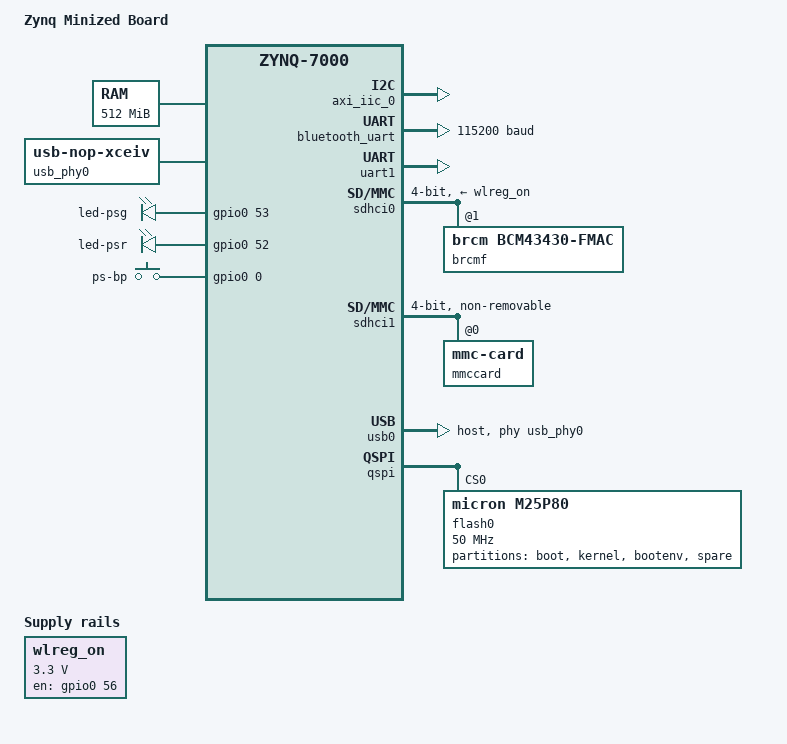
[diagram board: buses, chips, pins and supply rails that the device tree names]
/*
* dts file for MiniZed
*
* Copyright (C) 2018 Clément Laigle <clement.laigle8@gmail.com>
*/

/dts-v1/;
/include/ "zynq-7000.dtsi"


/ {
	model = "Zynq Minized Board";
	compatible = "xlnx,zynq-Minized", "xlnx,zynq-7000";

	chosen {
		stdout-path = "serial0:115200n8";
	};

	cpus {
		cpu@0 {
			operating-points = <666666 1000000 333333 1000000>;
		};
	};

	aliases {
		serial0 = &uart1;
                serial1 = &bluetooth_uart;
		spi0 = &qspi;
		mmc0 = &sdhci1;
	};

	memory {
		device_type = "memory";
		reg = <0 0x20000000>;
	};

	usb_phy0: phy0 {
		compatible = "usb-nop-xceiv";
		#phy-cells = <0x0>;
	};

	leds {
		compatible = "gpio-leds";
		led-psg {
			label = "led-psg";
			gpios = <&gpio0 53 0>;
			default-state = "on";
			linux,default-trigger = "heartbeat";
		};
		led-psr {
			label = "led-psr";
			gpios = <&gpio0 52 0>;
			default-state = "on";
			linux,default-trigger = "heartbeat";
		};
	};

	gpio-keys {
		compatible = "gpio-keys";
		#address-cells = <1>;
		#size-cells = <0>;
		autorepeat;
		sw3 {
			label = "ps-bp";
			gpios = <&gpio0 0 0>;
			linux,code = <108>; /* down */
			gpio-key,wakeup;
			autorepeat;
		};
	};

	amba_pl: amba_pl {
		#address-cells = <1>;
		#size-cells = <1>;
		compatible = "simple-bus";
		ranges ;

		axi_gpio_0: gpio@41200000 {
			#gpio-cells = <2>;
			compatible = "xlnx,xps-gpio-1.00.a";
			gpio-controller ;
			reg = <0x41200000 0x10000>;
			xlnx,all-inputs = <0x0>;
			xlnx,all-inputs-2 = <0x0>;
			xlnx,all-outputs = <0x1>;
			xlnx,all-outputs-2 = <0x1>;
			xlnx,dout-default = <0x00000000>;
			xlnx,dout-default-2 = <0x00000000>;
			xlnx,gpio-width = <0x1>;
			xlnx,gpio2-width = <0x1>;
			xlnx,interrupt-present = <0x0>;
			xlnx,is-dual = <0x1>;
			xlnx,tri-default = <0xFFFFFFFF>;
			xlnx,tri-default-2 = <0xFFFFFFFF>;
		};
		axi_gpio_1: gpio@41210000 {
			#gpio-cells = <2>;
			compatible = "xlnx,xps-gpio-1.00.a";
			gpio-controller ;
			reg = <0x41210000 0x10000>;
			xlnx,all-inputs = <0x1>;
			xlnx,all-inputs-2 = <0x0>;
			xlnx,all-outputs = <0x0>;
			xlnx,all-outputs-2 = <0x0>;
			xlnx,dout-default = <0x00000000>;
			xlnx,dout-default-2 = <0x00000000>;
			xlnx,gpio-width = <0x1>;
			xlnx,gpio2-width = <0x20>;
			xlnx,interrupt-present = <0x0>;
			xlnx,is-dual = <0x0>;
			xlnx,tri-default = <0xFFFFFFFF>;
			xlnx,tri-default-2 = <0xFFFFFFFF>;
		};
		axi_iic_0: i2c@41600000 {
			#address-cells = <1>;
			#size-cells = <0>;
			clock-names = "ref_clk";
			clocks = <&clkc 15>;
			compatible = "xlnx,xps-iic-2.00.a";
			interrupt-parent = <&intc>;
			interrupts = <0 30 4>;
			reg = <0x41600000 0x10000>;
		};
		bluetooth_uart: serial@43c00000 {
			clock-frequency = <0x2dc6c00>;
			clock-names = "ref_clk";
			clocks = <&clkc 0>;
			compatible = "xlnx,xps-uart16550-2.00.a", "ns16550a";
			current-speed = <115200>;
			device_type = "serial";
			interrupt-parent = <&intc>;
			interrupts = <0 29 4>;
			port-number = <1>;
			reg = <0x43c00000 0x10000>;
			reg-offset = <0x1000>;
			reg-shift = <2>;
			xlnx,external-xin-clk-hz = <0x2dc6c00>;
			xlnx,external-xin-clk-hz-d = <0x30>;
			xlnx,has-external-rclk = <0x0>;
			xlnx,has-external-xin = <0x1>;
			xlnx,is-a-16550 = <0x1>;
			xlnx,s-axi-aclk-freq-hz-d = "100.0";
			xlnx,use-modem-ports = <0x1>;
			xlnx,use-user-ports = <0x1>;
		};
	};

	wlreg_on: wlreg-on {
		compatible = "regulator-fixed";
		regulator-name = "wlreg_on";
		enable-active-high;
		gpio = <&gpio0 56 0>;
		regulator-min-microvolt = <3300000>;
		regulator-max-microvolt = <3300000>;
		startup-delay-us = <100>;
	};
};

&gpio0 {
	emio-gpio-width = <4>;
	gpio-mask-high = <0x0>;
	gpio-mask-low = <0x5600>;
};

&intc {
	num_cpus = <1>;
	num_interrupts = <96>;
};

&uart1 {
	status = "okay";
};

&sdhci0 {
	status = "okay";
	bus-width= <4>;
	xlnx,has-cd = <0x0>;
	xlnx,has-power = <0x0>;
	xlnx,has-wp = <0x0>;
	non-removeable;
	broken-cd;
	vmmc-supply = <&wlreg_on>;

        brcmf: brcmf@1 {
		status = "okay";
                reg = <1>;
                compatible = "brcm,bcm43430-fmac";
	};
};

&sdhci1 {
	status = "okay";
	non-removable;
	bus-width = <4>;
	max-frequency = <12000000>;

	#address-cells = <1>;
	#size-cells = <0>;
	mmccard: mmccard@0 {
		compatible = "mmc-card";
		reg = <0>;
		broken-hpi;
	};
};

&usb0 {
	status = "okay";
	dr_mode = "host";
	usb-reset = <&gpio0 7 0>;
	usb-phy = <&usb_phy0>;
};

&uart1 {
	u-boot,dm-pre-reloc;
	status = "okay";
};

&qspi {
	status = "okay";
	#address-cells = <1>;
	#size-cells = <0>;
	interrupt-parent = <0x3>;
	is-dual = <0x0>;
	num-cs = <0x1>;


	flash0: flash@0 {
		compatible = "micron,m25p80";
		reg = <0x0>;
		#address-cells = <1>;
		#size-cells = <1>;
		spi-max-frequency = <50000000>;

		partition@0x00000000 {
			label = "boot";
			reg = <0x0 0xff0000>;
		};
		partition@0x00270000 {
			label = "kernel";
			reg = <0x270000 0xd80000>;
		};
		partition@0x00ff0000 {
			label = "bootenv";
			reg = <0xff0000 0x10000>;
		};
		
		partition@0x01000000 {
			label = "spare";
			reg = <0x1000000 0x0>;
		};

	};
};

